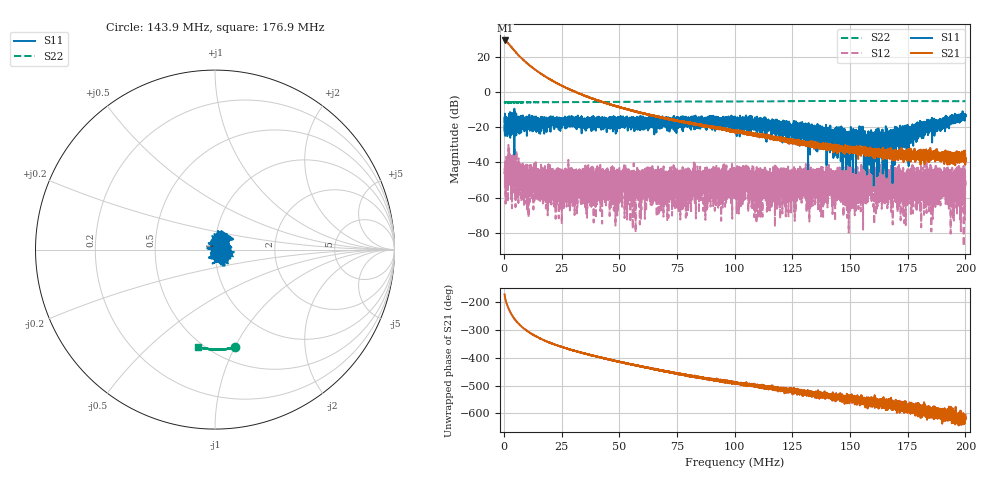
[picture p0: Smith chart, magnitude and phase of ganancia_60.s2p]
# Hz S DB R 50
! CMT, M5065, 19127446, 24.2.4/2
! Date: 11/8/2024 4:20:04 PM
! Data: Format (Calibration Info)
! Freq	S11:dB/Ang(F2)	S21:dB/Ang(F2)	S12:dB/Ang(F2)	S22:dB/Ang(F2)
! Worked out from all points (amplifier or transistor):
!   9000 points, 300 kHz to 200 MHz, reference 50 ohm
!   highest |S21| = 29.3 dB at 366.6 kHz (marker M1)
!   |S21| within 3 dB of that: start of sweep to 2.77 MHz
!   unconditionally stable (mu >= 1): start of sweep to 1.958 MHz; 1.972 MHz to 2.274 MHz; 2.277 MHz to end of sweep
!   at 33.59 MHz: K = 136.94, MAG = 0.0 dB, |S12| = -50.2 dB
!   at 100.2 MHz: K = 1091.02, MAG = -20.6 dB, |S12| = -47.7 dB
!   at 200 MHz: K = 6591.18, MAG = -36.2 dB, |S12| = -48.0 dB
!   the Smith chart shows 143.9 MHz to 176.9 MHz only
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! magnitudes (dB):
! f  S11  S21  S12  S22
! 300 kHz  -16.9  29.2  -45.5  -5.7
! 366.6 kHz  -22.3  29.3  -43.7  -5.7
! 4.694 MHz  -13.8  23.2  -44.3  -6.0
! 10.24 MHz  -17.2  16.1  -57.5  -5.8
! 14.88 MHz  -16.7  11.4  -45.2  -5.8
! 33.59 MHz  -17.7  -1.4  -50.2  -5.7
! 49.72 MHz  -18.8  -8.4  -47.5  -5.6
! 51.65 MHz  -19.1  -9.1  -49.4  -5.6
! 53.91 MHz  -19.6  -10.1  -54.3  -5.6
! 56.98 MHz  -17.6  -11.1  -57.9  -5.6
! 66.87 MHz  -16.9  -14.2  -46.4  -5.5
! 100.2 MHz  -20.6  -22.1  -47.7  -5.4
! 113.2 MHz  -18.8  -25.3  -45.5  -5.3
! 115.2 MHz  -19.5  -26.3  -67.4  -5.3
! 117.1 MHz  -19.1  -26.4  -44.2  -5.3
! 133.4 MHz  -22.0  -28.2  -49.0  -5.2
! 149.2 MHz  -27.4  -31.8  -47.2  -5.1
! 154.7 MHz  -25.7  -34.1  -48.4  -5.1
! 156.9 MHz  -27.7  -34.6  -52.0  -5.1
! 166.7 MHz  -27.6  -35.1  -47.3  -5.1
! 194.6 MHz  -15.3  -36.0  -46.3  -5.3
! 200 MHz  -13.3  -37.9  -48.0  -5.3
